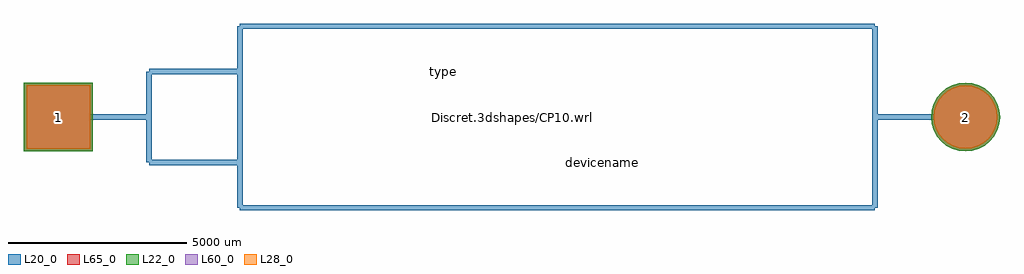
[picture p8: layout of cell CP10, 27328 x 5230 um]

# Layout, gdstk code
import gdstk
lib = gdstk.Library(unit=1e-6, precision=1e-09)
def R(c, l, rs):  # rectangles x0, y0, x1, y1
    for r in rs: c.add(gdstk.rectangle(r[:2], r[2:], *l))
def P(c, l, *ps):  # polygons
    for p in ps: c.add(gdstk.Polygon(p, *l))
L20_0 = (20, 0)
L22_0 = (22, 0)
L28_0 = (28, 0)
L60_0 = (60, 0)
L65_0 = (65, 0)

cp10 = lib.new_cell('CP10')
R(cp10, L22_0, [(-13664,-964,-11736,964)])
P(cp10, L22_0, [(13664,0),(13645.477,188.067),(13590.62,368.907),(13501.537,535.57),(13381.651,681.651),(13235.57,801.537),(13068.907,890.62),(12888.067,945.477),(12700,964),(12511.933,945.477),(12331.093,890.62),(12164.43,801.537),(12018.349,681.651),(11898.463,535.57),(11809.38,368.907),(11754.523,188.067),(11736,0),(11754.523,-188.067),(11809.38,-368.907),(11898.463,-535.57),(12018.349,-681.651),(12164.43,-801.537),(12331.093,-890.62),(12511.933,-945.477),(12700,-964),(12888.067,-945.477),(13068.907,-890.62),(13235.57,-801.537),(13381.651,-681.651),(13501.537,-535.57),(13590.62,-368.907),(13645.477,-188.067)])
R(cp10, L28_0, [(-13589,-889,-11811,889)])
P(cp10, L28_0, [(13589,0),(13571.918,173.435),(13521.329,340.206),(13439.176,493.902),(13328.618,628.618),(13193.902,739.176),(13040.206,821.329),(12873.435,871.918),(12700,889),(12526.565,871.918),(12359.794,821.329),(12206.098,739.176),(12071.382,628.618),(11960.824,493.902),(11878.671,340.206),(11828.082,173.435),(11811,0),(11828.082,-173.435),(11878.671,-340.206),(11960.824,-493.902),(12071.382,-628.618),(12206.098,-739.176),(12359.794,-821.329),(12526.565,-871.918),(12700,-889),(12873.435,-871.918),(13040.206,-821.329),(13193.902,-739.176),(13328.618,-628.618),(13439.176,-493.902),(13521.329,-340.206),(13571.918,-173.435)])
R(cp10, L60_0, [(-13589,-889,-11811,889)])
P(cp10, L60_0, [(13589,0),(13571.918,173.435),(13521.329,340.206),(13439.176,493.902),(13328.618,628.618),(13193.902,739.176),(13040.206,821.329),(12873.435,871.918),(12700,889),(12526.565,871.918),(12359.794,821.329),(12206.098,739.176),(12071.382,628.618),(11960.824,493.902),(11878.671,340.206),(11828.082,173.435),(11811,0),(11828.082,-173.435),(11878.671,-340.206),(11960.824,-493.902),(12071.382,-628.618),(12206.098,-739.176),(12359.794,-821.329),(12526.565,-871.918),(12700,-889),(12873.435,-871.918),(13040.206,-821.329),(13193.902,-739.176),(13328.618,-628.618),(13439.176,-493.902),(13521.329,-340.206),(13571.918,-173.435)])
R(cp10, L65_0, [(-13664,-964,-11736,964)])
P(cp10, L65_0, [(13664,0),(13645.477,188.067),(13590.62,368.907),(13501.537,535.57),(13381.651,681.651),(13235.57,801.537),(13068.907,890.62),(12888.067,945.477),(12700,964),(12511.933,945.477),(12331.093,890.62),(12164.43,801.537),(12018.349,681.651),(11898.463,535.57),(11809.38,368.907),(11754.523,188.067),(11736,0),(11754.523,-188.067),(11809.38,-368.907),(11898.463,-535.57),(12018.349,-681.651),(12164.43,-801.537),(12331.093,-890.62),(12511.933,-945.477),(12700,-964),(12888.067,-945.477),(13068.907,-890.62),(13235.57,-801.537),(13381.651,-681.651),(13501.537,-535.57),(13590.62,-368.907),(13645.477,-188.067)])
cp10.add(gdstk.FlexPath([(-12700,0),(-10160,0)], 149.998, ends="flush", simple_path=True, layer=20, datatype=0))  # L20_0
cp10.add(gdstk.FlexPath([(-10160,-1270),(-7620,-1270)], 149.998, ends="flush", simple_path=True, layer=20, datatype=0))  # L20_0
cp10.add(gdstk.FlexPath([(-10160,1270),(-10160,-1270)], 149.998, ends="flush", simple_path=True, layer=20, datatype=0))  # L20_0
cp10.add(gdstk.FlexPath([(-7620,1270),(-10160,1270)], 149.998, ends="flush", simple_path=True, layer=20, datatype=0))  # L20_0
cp10.add(gdstk.FlexPath([(10160,2540),(10160,0)], 149.998, ends="flush", simple_path=True, layer=20, datatype=0))  # L20_0
cp10.add(gdstk.FlexPath([(-7620,2540),(10160,2540)], 149.998, ends="flush", simple_path=True, layer=20, datatype=0))  # L20_0
cp10.add(gdstk.FlexPath([(-7620,-2540),(-7620,2540)], 149.998, ends="flush", simple_path=True, layer=20, datatype=0))  # L20_0
cp10.add(gdstk.FlexPath([(10160,-2540),(-7620,-2540)], 149.998, ends="flush", simple_path=True, layer=20, datatype=0))  # L20_0
cp10.add(gdstk.FlexPath([(10160,0),(10160,-2540)], 149.998, ends="flush", simple_path=True, layer=20, datatype=0))  # L20_0
cp10.add(gdstk.FlexPath([(12700,0),(10160,0)], 149.998, ends="flush", simple_path=True, layer=20, datatype=0))  # L20_0
cp10.add(gdstk.Label('Discret.3dshapes/CP10.wrl', (0,0), layer=12, texttype=0))
cp10.add(gdstk.Label('1', (-12700,0), layer=28, texttype=0))
cp10.add(gdstk.Label('2', (12700,0), layer=28, texttype=0))
cp10.add(gdstk.Label('type', (-1905,1270), layer=9, texttype=0))
cp10.add(gdstk.Label('devicename', (2540,-1270), layer=9, texttype=0))

lib.write_gds('CP10.gds')
